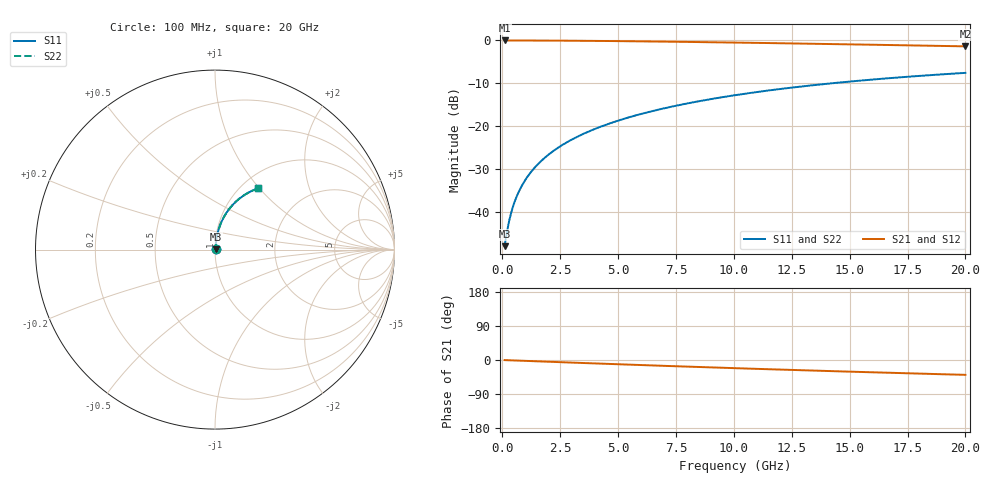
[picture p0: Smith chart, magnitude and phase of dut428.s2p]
! Touchstone file exported from HFSS 2024.1.0
!  File:  C:/UserFiles/LocalFiles/RDL_TSV_Batchsim/temp_RDL_top_428_1779676294.aedt
!  Generated:  10:33:29 AM May 25, 2026
!  Design:  RDL_top
!  Project:  temp_RDL_top_428_1779676294
!  Setup:  Setup1
!  Solution:  Sweep
! Variables:
!  dtsv = 10.80580581um
!  hbump = 3um
!  htsv = 75.95um
!  ldown = 100um
!  lrdl = 521.66um
!  p = 40
!  p1 = 47.87um
!  rhole = 1um
!  t = 450um
!  tdown = 3.915915916um
!  trdl = 4.12um
!  wdown = 15.38538539um
!  wrdl = 14.5um
# GHz S MA R 50.000000
! Terminal data exported
! Port[1] = Box2_T1
! Port[2] = Box2_T2
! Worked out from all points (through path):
!   200 points, 100 MHz to 20 GHz, reference 50 ohm
!   highest |S21| = -0.03 dB at 100 MHz (marker M1); lowest = -1.4 dB at 20 GHz (marker M2)
!   group delay of S21, straight-line fit = 5.43 ps
!   lowest |S11| = -47.9 dB at 100 MHz (marker M3), VSWR 1.01, Z = 50.3 + j0.246 ohm
!   |S11| at or under -10 dB: start of sweep to 14.22 GHz
!   |S22| runs from -47.9 to -7.6 dB; largest |S21 - S12| = 3.5e-15
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0.1  0.004024 37.5  0.9968 -0.2  0.9968 -0.2  0.004024 37.5
! Gamma 0 0 0 0
! Port Impedance 50 0 50 0
0.2  0.005874 56.1  0.9967 -0.5  0.9967 -0.5  0.005874 56.1
0.3  0.008017 64.9  0.9966 -0.7  0.9966 -0.7  0.008017 64.9
0.4  0.01024 69.8  0.9964 -0.9  0.9964 -0.9  0.01024 69.8
0.5  0.0125 72.9  0.9963 -1.2  0.9963 -1.2  0.0125 72.9
0.6  0.01476 75.0  0.9962 -1.4  0.9962 -1.4  0.01476 75.0
0.8  0.0193 77.7  0.9959 -1.9  0.9959 -1.9  0.0193 77.7
1.1  0.02615 79.9  0.9954 -2.5  0.9954 -2.5  0.02615 79.9
1.5  0.03533 81.3  0.9946 -3.5  0.9946 -3.5  0.03533 81.3
1.8  0.04225 81.8  0.9939 -4.1  0.9939 -4.1  0.04225 81.8
2.1  0.04917 82.0  0.9931 -4.8  0.9931 -4.8  0.04917 82.0
2.7  0.06305 82.0  0.991 -6.2  0.991 -6.2  0.06305 82.0
3.5  0.08157 81.4  0.9877 -8.0  0.9877 -8.0  0.08157 81.4
4.2  0.09776 80.6  0.9842 -9.5  0.9842 -9.5  0.09776 80.6
5  0.1162 79.6  0.9797 -11.2  0.9797 -11.2  0.1162 79.6
5.9  0.1369 78.3  0.974 -13.2  0.974 -13.2  0.1369 78.3
6.8  0.1575 76.9  0.9678 -15.1  0.9678 -15.1  0.1575 76.9
8.3  0.1913 74.5  0.9565 -18.1  0.9565 -18.1  0.1913 74.5
10.1  0.231 71.4  0.9419 -21.7  0.9419 -21.7  0.231 71.4
13.4  0.3 65.7  0.9129 -27.9  0.9129 -27.9  0.3 65.7
16.7  0.3627 60.1  0.8823 -33.7  0.8823 -33.7  0.3627 60.1
20  0.4182 54.8  0.8512 -39.2  0.8512 -39.2  0.4182 54.8
